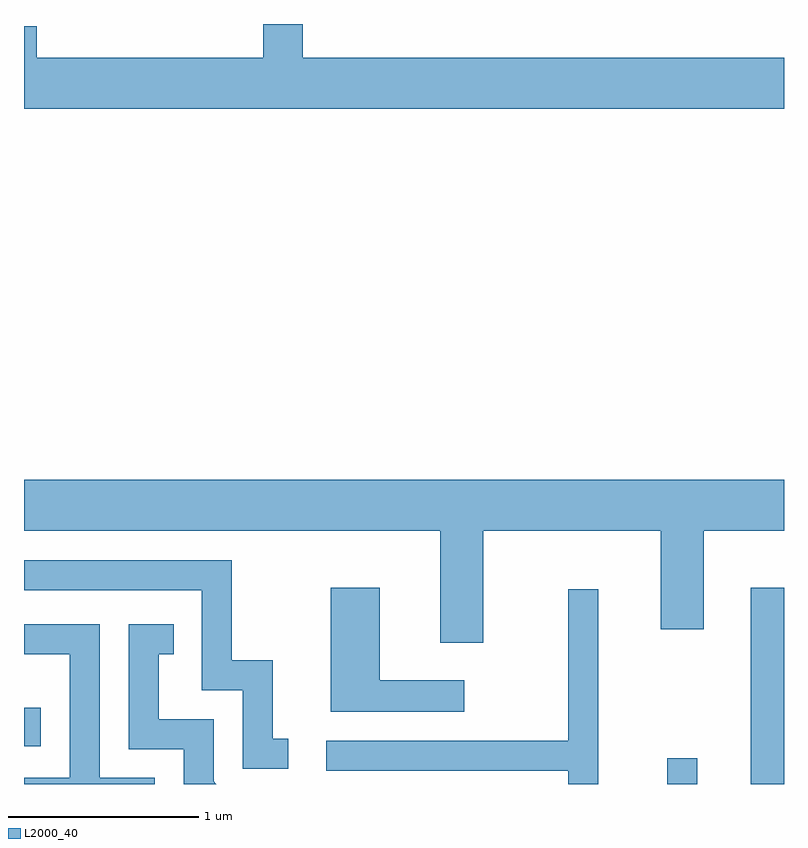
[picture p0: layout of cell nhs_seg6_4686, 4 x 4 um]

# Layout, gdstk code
import gdstk
lib = gdstk.Library(unit=1e-6, precision=1e-09)
def R(c, l, rs):  # rectangles x0, y0, x1, y1
    for r in rs: c.add(gdstk.rectangle(r[:2], r[2:], *l))
def P(c, l, *ps):  # polygons
    for p in ps: c.add(gdstk.Polygon(p, *l))
L2000_40 = (2000, 40)

nhs_seg6_4686 = lib.new_cell('nhs_seg6_4686')
R(nhs_seg6_4686, L2000_40, [(330.996,1644.162,331.154,1644.298), (331.436,1644.162,331.611,1645.194), (327.611,1644.361,327.699,1644.564)])
P(nhs_seg6_4686, L2000_40, [(331.611,1647.984),(329.079,1647.984),(329.079,1648.162),(328.871,1648.162),(328.871,1647.984),(327.679,1647.984),(327.679,1648.149),(327.611,1648.149),(327.611,1647.716),(331.611,1647.716)],
  [(330.029,1645.496),(330.961,1645.496),(330.961,1644.976),(331.189,1644.976),(331.189,1645.496),(331.611,1645.496),(331.611,1645.764),(327.611,1645.764),(327.611,1645.496),(329.801,1645.496),(329.801,1644.906),(330.029,1644.906)],
  [(329.003,1644.399),(328.919,1644.399),(328.919,1644.814),(328.704,1644.814),(328.704,1645.339),(327.611,1645.339),(327.611,1645.181),(328.546,1645.181),(328.546,1644.656),(328.761,1644.656),(328.761,1644.241),(329.003,1644.241)],
  [(329.928,1644.709),(329.484,1644.709),(329.484,1645.194),(329.226,1645.194),(329.226,1644.541),(329.928,1644.541)],
  [(330.634,1645.188),(330.476,1645.188),(330.476,1644.389),(329.203,1644.389),(329.203,1644.231),(330.476,1644.231),(330.476,1644.162),(330.634,1644.162)],
  [(328.299,1644.194),(328.009,1644.194),(328.009,1645.004),(327.611,1645.004),(327.611,1644.846),(327.851,1644.846),(327.851,1644.194),(327.611,1644.194),(327.611,1644.162),(328.299,1644.162)],
  [(328.609,1644.177),(328.609,1644.504),(328.319,1644.504),(328.319,1644.846),(328.398,1644.846),(328.398,1645.004),(328.161,1645.004),(328.161,1644.346),(328.451,1644.346),(328.451,1644.162),(328.624,1644.162)])

lib.write_gds('nhs_seg6_4686.gds')
